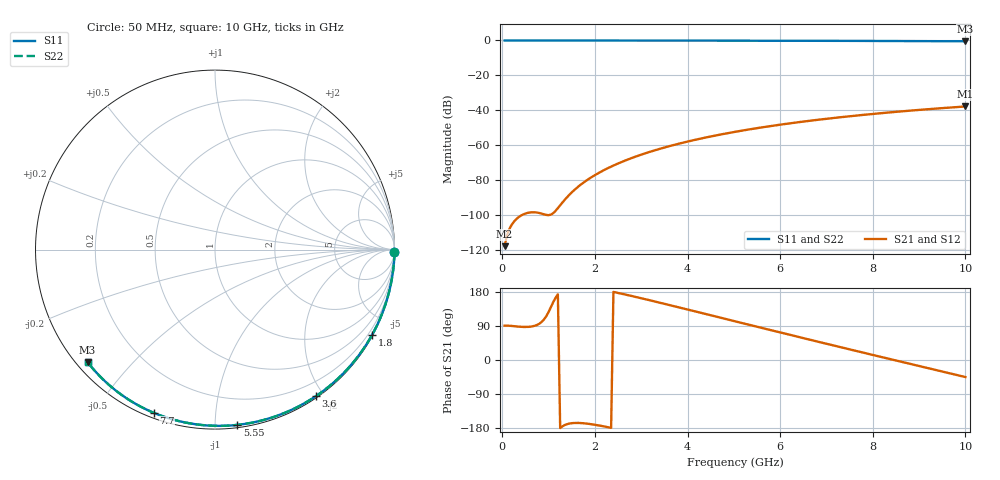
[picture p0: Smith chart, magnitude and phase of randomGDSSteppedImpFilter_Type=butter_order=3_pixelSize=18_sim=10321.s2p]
! freq	dB(S11)	phase(S11)	dB(S12)	phase(S12)
!  dB(S21)	phase(S21)	dB(S22)	phase(S22)
!S-par simulation data
#  GHz  S  DB  R 50
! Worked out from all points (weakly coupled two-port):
!   200 points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, 50 MHz to 10 GHz, reference 50 ohm
!   highest |S21| = -37.83 dB at 10 GHz (marker M1); lowest = -117.9 dB at 50 MHz (marker M2)
!   lowest |S11| = -0.5 dB at 10 GHz (marker M3), VSWR 36.84, Z = 1.55 - j18.9 ohm
!   |S11| at or under -10 dB: nowhere
!   |S22| runs from -0.5 to 0.0 dB; largest |S21 - S12| = 0
!   S11 on the Smith chart (normalised r, x): 50 MHz: open; 1.8 GHz: 0.03, -3.95; 3.6 GHz: 0.02, -1.90; 5.55 GHz: 0.02, -1.13; 7.7 GHz: 0.02, -0.69; 10 GHz: 0.03, -0.38
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0.05  -0.00 -0.8  -117.86 90.6  -117.86 90.6  -0.00 -0.8
0.45  -0.01 -7.2  -99.70 87.2  -99.70 87.2  -0.01 -7.2
0.9  -0.02 -14.3  -99.61 106.9  -99.61 106.9  -0.02 -14.3
1.75  -0.04 -27.6  -81.49 -166.9  -81.49 -166.9  -0.04 -27.6
1.8  -0.04 -28.4  -80.54 -167.5  -80.54 -167.5  -0.04 -28.4
1.85  -0.04 -29.2  -79.64 -168.2  -79.64 -168.2  -0.04 -29.2
2.05  -0.04 -32.3  -76.37 -171.9  -76.37 -171.9  -0.04 -32.3
2.25  -0.05 -35.3  -73.55 -176.5  -73.55 -176.5  -0.05 -35.3
2.55  -0.05 -39.9  -69.92 175.7  -69.92 175.7  -0.05 -39.9
2.95  -0.06 -45.9  -65.88 164.5  -65.88 164.5  -0.06 -45.9
3.4  -0.07 -52.6  -62.10 151.3  -62.10 151.3  -0.07 -52.6
3.6  -0.07 -55.5  -60.61 145.3  -60.61 145.3  -0.07 -55.5
3.9  -0.08 -59.8  -58.57 136.3  -58.57 136.3  -0.08 -59.8
4.3  -0.09 -65.6  -56.13 124.2  -56.13 124.2  -0.09 -65.6
5.05  -0.12 -76.0  -52.24 101.4  -52.24 101.4  -0.12 -76.0
5.55  -0.14 -82.8  -50.03 86.3  -50.03 86.3  -0.14 -82.8
6.1  -0.16 -90.1  -47.89 69.7  -47.89 69.7  -0.16 -90.1
6.7  -0.19 -97.9  -45.82 51.8  -45.82 51.8  -0.19 -97.9
7.7  -0.25 -110.5  -42.89 22.1  -42.89 22.1  -0.25 -110.5
8.35  -0.30 -118.5  -41.25 3.1  -41.25 3.1  -0.30 -118.5
9.2  -0.38 -128.9  -39.37 -21.6  -39.37 -21.6  -0.38 -128.9
10  -0.47 -138.6  -37.83 -45.0  -37.83 -45.0  -0.47 -138.6
